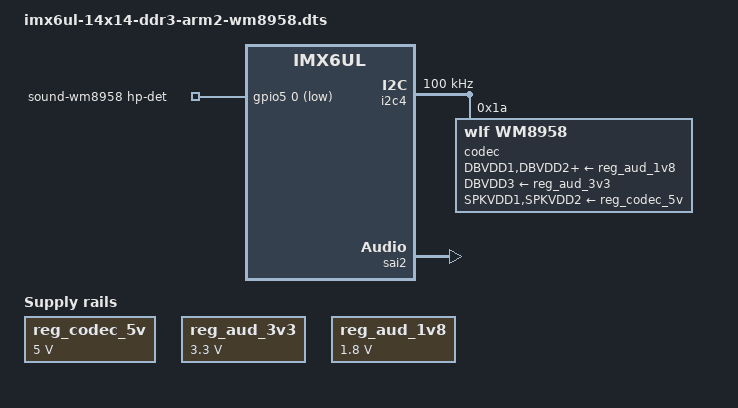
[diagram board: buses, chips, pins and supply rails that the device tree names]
/*
 * Copyright (C) 2015 Freescale Semiconductor, Inc.
 *
 * This program is free software; you can redistribute it and/or modify
 * it under the terms of the GNU General Public License version 2 as
 * published by the Free Software Foundation.
 */

#include "imx6ul-14x14-ddr3-arm2.dts"

/ {

	regulators {
		compatible = "simple-bus";
		#address-cells = <1>;
		#size-cells = <0>;

		reg_codec_5v: codec_5v {
			compatible = "regulator-fixed";
			regulator-name = "CODEC_5V";
			regulator-min-microvolt = <5000000>;
			regulator-max-microvolt = <5000000>;
			enable-active-high;
		};

		reg_aud_3v3: aud_3v3 {
			compatible = "regulator-fixed";
			regulator-name = "AUD_3V3";
			regulator-min-microvolt = <3300000>;
			regulator-max-microvolt = <3300000>;
			enable-active-high;
		};

		reg_aud_1v8: aud_1v8 {
			compatible = "regulator-fixed";
			regulator-name = "AUD_1V8";
			regulator-min-microvolt = <1800000>;
			regulator-max-microvolt = <1800000>;
			enable-active-high;
		};
	};

	sound-wm8958 {
		compatible = "fsl,imx6ul-ddr3-arm2-wm8958",
			   "fsl,imx-audio-wm8958";
		model = "wm8958-audio";
		cpu-dai = <&sai2>;
		audio-codec = <&codec>;
		codec-master;
		gpr = <&gpr>;
		hp-det-gpios = <&gpio5 0 1>;
	};
};

&clks {
	assigned-clocks = <&clks IMX6UL_CLK_PLL4_AUDIO_DIV>;
	assigned-clock-rates = <786432000>;
};

&i2c4 {
	clock-frequency = <100000>;
	pinctrl-names = "default";
	pinctrl-0 = <&pinctrl_i2c4>;
	status = "okay";

	codec: wm8958@1a {
		compatible = "wlf,wm8958";
		reg = <0x1a>;
		clocks = <&clks IMX6UL_CLK_SAI2>,
		       <&clks IMX6UL_CLK_DUMMY>;
		clock-names = "mclk1", "mclk2";

		DBVDD1-supply = <&reg_aud_1v8>;
		DBVDD2-supply = <&reg_aud_1v8>;
		DBVDD3-supply = <&reg_aud_3v3>;
		AVDD2-supply = <&reg_aud_1v8>;
		CPVDD-supply = <&reg_aud_1v8>;
		SPKVDD1-supply = <&reg_codec_5v>;
		SPKVDD2-supply = <&reg_codec_5v>;

		wlf,ldo1ena;
		wlf,ldo2ena;
	};
};

&sai2 {
	pinctrl-names = "default";
	pinctrl-0 = <&pinctrl_sai2>;
	assigned-clocks = <&clks IMX6UL_CLK_SAI2_SEL>,
			<&clks IMX6UL_CLK_SAI2>;
	assigned-clock-parents = <&clks IMX6UL_CLK_PLL4_AUDIO_DIV>;
	assigned-clock-rates = <0>, <24576000>;
	status = "okay";
};

&uart2 {
	status = "disabled";
};

&usdhc1 {
	status = "disabled";
};
